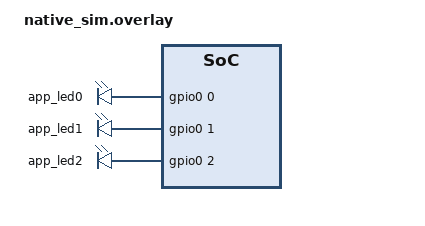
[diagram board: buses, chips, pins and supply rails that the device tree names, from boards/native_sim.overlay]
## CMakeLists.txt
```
cmake_minimum_required(VERSION 3.20.0)
find_package(Zephyr REQUIRED HINTS $ENV{ZEPHYR_BASE})
project(ledmux_app)
target_sources(app PRIVATE src/main.c src/ledmux.c)
target_include_directories(app PRIVATE src)
```

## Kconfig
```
rsource "Kconfig.ledmux"

source "Kconfig.zephyr"
```

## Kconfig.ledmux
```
config LEDMUX_SLOW_MS
	int "Intervalo entre trocas de estado no padrao LENTO (ms)"
	default 1000
	range 10 60000

config LEDMUX_NORMAL_MS
	int "Intervalo entre trocas de estado no padrao NORMAL (ms)"
	default 500
	range 10 60000

config LEDMUX_FAST_MS
	int "Intervalo entre trocas de estado no padrao RAPIDO (ms)"
	default 100
	range 10 60000
```

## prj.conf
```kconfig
CONFIG_GPIO=y
CONFIG_LOG=y
CONFIG_PRINTK=y
CONFIG_LEDMUX_SLOW_MS=1000
CONFIG_LEDMUX_NORMAL_MS=500
CONFIG_LEDMUX_FAST_MS=100
```

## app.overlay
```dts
/ {
	aliases {
		shell-led = &shell_led;
		shell-btn = &shell_btn;
	};
	leds {
		compatible = "gpio-leds";
		shell_led: led_0 {
			gpios = <&gpio0 0 GPIO_ACTIVE_HIGH>;
		};
	};
	buttons {
		compatible = "gpio-keys";
		shell_btn: btn_0 {
			gpios = <&gpio0 1 GPIO_ACTIVE_HIGH>;
		};
	};
};

&uart1 {
	status = "okay";
};
```

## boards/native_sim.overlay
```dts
/ {
	aliases {
		led0 = &app_led0;
		led1 = &app_led1;
		led2 = &app_led2;
	};

	app_leds {
		compatible = "gpio-leds";

		app_led0: led_0 {
			gpios = <&gpio0 0 GPIO_ACTIVE_HIGH>;
		};
		app_led1: led_1 {
			gpios = <&gpio0 1 GPIO_ACTIVE_HIGH>;
		};
		app_led2: led_2 {
			gpios = <&gpio0 2 GPIO_ACTIVE_HIGH>;
		};
	};
};
```

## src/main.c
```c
#include <zephyr/kernel.h>
#include <zephyr/logging/log.h>

#include "ledmux.h"

LOG_MODULE_REGISTER(main, CONFIG_LOG_DEFAULT_LEVEL);

#define MONITOR_STEP_MS 10

int main(void)
{
	int ret = ledmux_init();

	if (ret < 0) {
		LOG_ERR("ledmux_init failed: %d", ret);
		return ret;
	}

	size_t n = ledmux_count();
	int last[LEDMUX_MAX_LEDS] = {0};

	printk("ledmux: %u LEDs\n", (unsigned int)n);

	/* LED 0 lento, LED 1 normal, LED 2 rapido e assim por diante */
	for (size_t i = 0; i < n; i++) {
		ledmux_blink(i, (enum ledmux_pattern)(i % LEDMUX_PATTERN_COUNT));
	}

	for (int64_t t = 0;; t += MONITOR_STEP_MS) {
		/* "monitor" bem simples: só imprime quando algum LED muda de nivel.
		 * Serve pra ver o que tá rolando no native_sim, que nãp tem LED de verdade */
		for (size_t i = 0; i < n; i++) {
			int v = ledmux_get(i);

			if (v != last[i]) {
				printk("[%6lld ms] LED%u -> %s\n", k_uptime_get(), (unsigned int)i,
				       v ? "ON" : "OFF");
				last[i] = v;
			}
		}

		if (t == 8000) {
			printk("desligando so o LED1: os outros mantém a fase\n");
			ledmux_off(1);
		}
		if (t == 14000) {
			printk("todos piscando rápido\n");
			ledmux_apply_all(LEDMUX_ACT_BLINK_FAST);
		}
		if (t == 18000) {
			printk("todos desligados\n");
			ledmux_apply_all(LEDMUX_ACT_OFF);
		}
		/* k_msleep aqui é só do monitor, não faz parte do módulo, então não viola a regra.
		 */
		k_msleep(MONITOR_STEP_MS);
	}

	return 0;
}
```

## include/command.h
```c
#ifndef COMMAND_H_
#define COMMAND_H_

#include <stddef.h>


typedef struct command_entry {
        const char *name;
        void (*execute)(void);
} command_entry;

/*
Recebe uma tabela de comandos (array de struct command_entry), o
tamanho dessa tabela, e o nome do comando a executar.
 */
int dispatch_command(const struct command_entry *table, size_t table_size,
		      const char *name);

#endif 
```

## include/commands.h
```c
#ifndef COMMANDS_H_
#define COMMANDS_H_

#include <stddef.h>

#include "command.h"

extern const struct command_entry commands_table[];
extern const size_t commands_table_size;

#endif 
```

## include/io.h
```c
#ifndef IO_H_
#define IO_H_

int io_init(void);

void io_button_simulate(int pressed);

int io_button_read(void);

void io_led_write(int value);

int io_led_read(void);

#endif
```

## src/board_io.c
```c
#include "board_io.h"

#include <errno.h>

#include <zephyr/drivers/gpio.h>

static const struct gpio_dt_spec led = GPIO_DT_SPEC_GET(DT_ALIAS(led0), gpios);

static const struct gpio_dt_spec button = GPIO_DT_SPEC_GET(DT_ALIAS(sw0), gpios);

int io_init(void)
{
	int ret;

	if (!gpio_is_ready_dt(&led) || !gpio_is_ready_dt(&button)) {
		return -ENODEV;
	}

	ret = gpio_pin_configure_dt(&led, GPIO_OUTPUT_INACTIVE);
	if (ret < 0) {
		return ret;
	}

	ret = gpio_pin_configure_dt(&button, GPIO_INPUT);
	if (ret < 0) {
		return ret;
	}

	return 0;
}

int led_set(bool on)
{
	return gpio_pin_set_dt(&led, on);
}

int button_read(void)
{
	return gpio_pin_get_dt(&button);
}
```

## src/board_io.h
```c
/*******************************************************************
 * @file board_io.h
 *
 * @brief Interface do módulo de entradas/saídas (Atividade-03).
 *******************************************************************/

#ifndef BOARD_IO_H_
#define BOARD_IO_H_

#include <stdbool.h>

#include <zephyr/devicetree.h>

/* O native_sim só declara o LED (alias led0). O botão (alias sw0) precisa
 * vir de um overlay de devicetree criado por você. */
#if !DT_NODE_EXISTS(DT_ALIAS(sw0))
#error "Alias sw0 nao existe: crie um overlay de devicetree descrevendo o botao."
#endif

/* Configura LED (saída, iniciando desligado) e botão (entrada), obtidos do
 * devicetree pelos aliases led0 e sw0. Retorna 0 ou errno negativo. */
int io_init(void);

/* Escreve o nível lógico do LED (ativo em alto). Retorna 0 ou errno negativo. */
int led_set(bool on);

/* Lê o botão: 1 pressionado, 0 solto, ou errno negativo. */
int button_read(void);

#endif /* BOARD_IO_H_ */
```

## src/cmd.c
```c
#include "cmd.h"
#include <ctype.h>
#include <stdio.h>
#include <string.h>

typedef int (*cmd_fn)(const struct cmd_hw *hw, const char *args, char *out, size_t len);

struct cmd_entry {
	const char *name;
	cmd_fn fn;
	const char *help;
};

static bool eq_nocase(const char *a, const char *b)
{
	while (*a && *b) {
		if (tolower((unsigned char)*a++) != tolower((unsigned char)*b++)) {
			return false;
		}
	}
	return *a == *b;
}

static int cmd_help(const struct cmd_hw *hw, const char *args, char *out, size_t len)
{
	snprintf(out, len, "HELP | LED [ON|OFF] | BTN | ECHO <texto>");
	return 0;
}

static int cmd_led(const struct cmd_hw *hw, const char *args, char *out, size_t len)
{
	if (*args == '\0') {
		if (hw == NULL || hw->led_get == NULL) {
			snprintf(out, len, "ERR: led unavailable");
			return -1;
		}
		snprintf(out, len, "LED %s", hw->led_get() ? "ON" : "OFF");
		return 0;
	}
	bool on;

	if (eq_nocase(args, "ON")) {
		on = true;
	} else if (eq_nocase(args, "OFF")) {
		on = false;
	} else {
		snprintf(out, len, "ERR: usage: LED [ON|OFF]");
		return -1;
	}
	if (hw == NULL || hw->led_set == NULL) {
		snprintf(out, len, "ERR: led unavailable");
		return -1;
	}
	if (hw->led_set(on) < 0) {
		snprintf(out, len, "ERR: led failed");
		return -1;
	}
	snprintf(out, len, "OK");
	return 0;
}

static int cmd_btn(const struct cmd_hw *hw, const char *args, char *out, size_t len)
{
	if (hw == NULL || hw->btn_get == NULL) {
		snprintf(out, len, "ERR: button unavailable");
		return -1;
	}
	snprintf(out, len, "BTN %s", hw->btn_get() ? "PRESSED" : "RELEASED");
	return 0;
}

static int cmd_echo(const struct cmd_hw *hw, const char *args, char *out, size_t len)
{
	snprintf(out, len, "%s", args);
	return 0;
}

static const struct cmd_entry table[] = {
	{"HELP", cmd_help, "lista comandos"},
	{"LED", cmd_led, "liga/desliga/consulta LED"},
	{"BTN", cmd_btn, "estado do botao"},
	{"ECHO", cmd_echo, "repete o texto"},
};

int cmd_execute(const char *line, const struct cmd_hw *hw, char *out, size_t out_len)
{
	if (out == NULL || out_len == 0) {
		return -1;
	}
	out[0] = '\0';
	if (line == NULL) {
		return -1;
	}

	while (isspace((unsigned char)*line)) {
		line++;
	}
	if (*line == '\0') {
		return 0;
	}

	char name[16];
	size_t n = 0;

	while (line[n] && !isspace((unsigned char)line[n])) {
		n++;
	}
	if (n >= sizeof(name)) {
		snprintf(out, out_len, "ERR: unknown command");
		return -1;
	}
	memcpy(name, line, n);
	name[n] = '\0';

	const char *args = line + n;

	while (isspace((unsigned char)*args)) {
		args++;
	}

	for (size_t i = 0; i < sizeof(table) / sizeof(table[0]); i++) {
		if (eq_nocase(name, table[i].name)) {
			if (table[i].fn == NULL) { /* valida callback antes de executar */
				snprintf(out, out_len, "ERR: not implemented");
				return -1;
			}
			return table[i].fn(hw, args, out, out_len);
		}
	}
	snprintf(out, out_len, "ERR: unknown command");
	return -1;
}
```

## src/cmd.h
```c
#ifndef CMD_H
#define CMD_H

#include <stdbool.h>
#include <stddef.h>

/* Hardware injetado: o modulo nao conhece GPIO. */
struct cmd_hw {
	int (*led_set)(bool on);
	int (*led_get)(void);
	int (*btn_get)(void);
};

/* Executa uma linha e escreve a resposta (sem \r\n) em out. Retorna 0 se ok. */
int cmd_execute(const char *line, const struct cmd_hw *hw, char *out, size_t out_len);

#endif
```

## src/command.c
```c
#include <string.h>
#include <zephyr/sys/printk.h>

#include "command.h"

int dispatch_command(const struct command_entry *table, size_t table_size, const char *name)
{
	for (size_t i = 0; i < table_size; i++) {
		if (strcmp(table[i].name, name) == 0) {
			table[i].execute();
			return 0;
		}
	}

	printk("comando desconhecido: \"%s\"\n", name);
	return -1;
}
```

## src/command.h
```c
#ifndef COMMAND_H_
#define COMMAND_H_

#include <stddef.h>

typedef struct command_entry {
	const char *name;
	void (*execute)(void);
} command_entry;

/*
Recebe uma tabela de comandos (array de struct command_entry), o
tamanho dessa tabela, e o nome do comando a executar.
 */
int dispatch_command(const struct command_entry *table, size_t table_size, const char *name);

#endif
```

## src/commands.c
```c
#include <zephyr/kernel.h>
#include <zephyr/sys/printk.h>

#include "command.h"

/*comandos concretos*/

static void cmd_motor_on(void)
{
	printk("Motor ligado\n");
}

static void cmd_motor_off(void)
{
	printk("Motor desligado\n");
}

static void cmd_increase_speed(void)
{
	printk("Velocidade aumentada!\n");
}

static void cmd_decrease_speed(void)
{
	printk("Velocidade reduzida!\n");
}

/*
A tabela de comandos: mapeia nome -> função.
 */
const struct command_entry commands_table[] = {
	{"motor_on", cmd_motor_on},
	{"motor_off", cmd_motor_off},
	{"increase_speed", cmd_increase_speed},
	{"decrease_speed", cmd_decrease_speed},
};

const size_t commands_table_size = sizeof(commands_table) / sizeof(commands_table[0]);
```

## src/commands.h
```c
#ifndef COMMANDS_H_
#define COMMANDS_H_

#include <stddef.h>

#include "command.h"

extern const struct command_entry commands_table[];
extern const size_t commands_table_size;

#endif
```

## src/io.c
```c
#include <errno.h>

#include <zephyr/device.h>
#include <zephyr/drivers/gpio.h>
#include <zephyr/drivers/gpio/gpio_emul.h>
#include <zephyr/kernel.h>

#include "io.h"

static const struct gpio_dt_spec led = GPIO_DT_SPEC_GET(DT_ALIAS(led0), gpios);
static const struct gpio_dt_spec button = GPIO_DT_SPEC_GET(DT_ALIAS(sw0), gpios);

int io_init(void)
{
	int ret;

	if (!gpio_is_ready_dt(&led) || !gpio_is_ready_dt(&button)) {
		return -ENODEV;
	}

	ret = gpio_pin_configure_dt(&led, GPIO_OUTPUT_INACTIVE);
	if (ret < 0) {
		return ret;
	}

	ret = gpio_pin_configure_dt(&button, GPIO_INPUT);
	if (ret < 0) {
		return ret;
	}

	return 0;
}

int io_led_read(void)
{
	return gpio_emul_output_get(led.port, led.pin);
}

void io_button_simulate(int pressed)
{
	gpio_emul_input_set(button.port, button.pin, pressed);
}

int io_button_read(void)
{
	return gpio_pin_get_dt(&button);
}

void io_led_write(int value)
{
	gpio_pin_set_dt(&led, value);
}
```
